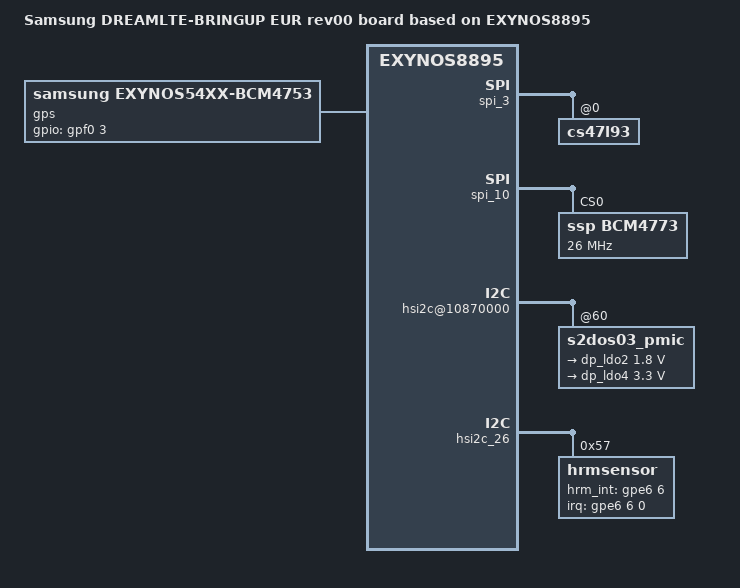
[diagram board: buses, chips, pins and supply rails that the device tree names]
/*
 * SAMSUNG EXYNOS8895 board device tree source
 *
 * Copyright (c) 2016 Samsung Electronics Co., Ltd.
 *		http://www.samsung.com
 *
 * This program is free software; you can redistribute it and/or modify
 * it under the terms of the GNU General Public License version 2 as
 * published by the Free Software Foundation.
*/

/dts-v1/;
#include "exynos8895-dreamlte_common.dtsi"
#include "battery_data_dreamlte_common.dtsi"
#include "exynos8895-dreamlte_motor.dtsi"
#include "exynos8895-dreamlte_svcled.dtsi"
#include "ccic-s2mm005_00.dtsi"
#include "exynos8895-dreamlte_mst_00.dtsi"
#include "exynos8895-dreamlte_gpio_02.dtsi"

/ {
	model = "Samsung DREAMLTE-BRINGUP EUR rev00 board based on EXYNOS8895";
	model_info-chip = <8895>;
	model_info-platform = "android";
	model_info-subtype = "samsung";
	model_info-hw_rev = <0>;
	model_info-hw_rev_end = <0>;
	compatible = "samsung, DREAMLTE-BRINGUP EUR rev00", "samsung,EXYNOS8895";

	spi_3: spi@10460000 {
		status = "okay";
		cs47l93: cs47l93@0 {
			cirrus,dmic-ref = <1 2>;
			cirrus,inmode = <
				2 0 2 0 /* IN1 */
				2 2 0 0 /* IN2 */
			>;

			cirrus,gpio-defaults = <
				0xffffffff 0xffffffff /* GPIO1 */
				0xffffffff 0xffffffff /* GPIO2 */
				0x00002001 0x00009000 /* SPKCLK1 /   GPIO3 */
				0x00002001 0x00009000 /* SPKDAT /    GPIO4 */
				0x00002000 0x00006000 /* AIF1TXDAT / GPIO5 */
				0x00002000 0x00006000 /* AIF1BCLK /  GPIO6 */
				0x00002000 0x00006000 /* AIF1RXDAT / GPIO7 */
				0x00002000 0x00006000 /* AIF1LRCLK / GPIO8 */
				0x00002001 0x00009000 /* AIF2TXDAT / GPIO9 */
				0x00002001 0x00009000 /* AIF2BCLK /  GPIO10 */
				0x00002001 0x00009000 /* AIF2RXDAT / GPIO11 */
				0x00002000 0x00006000 /* AIF2LRCLK / GPIO12 */
				0x00002000 0x00006000 /* AIF3TXDAT / GPIO13 */
				0x00002000 0x00006000 /* AIF3BCLK /  GPIO14 */
				0x00002000 0x00006000 /* AIF3RXDAT / GPIO15 */
				0x00002000 0x00006000 /* AIF3LRCLK / GPIO16 */
			>;

			cirrus,accdet {
				acc@1 {
					cirrus,hpdet-ext-res = <3300>;
				};
			};
		};
	};

	spi_10: spi@108C0000{
		#address-cells = <1>;
		#size-cells = <0>;
	
		pinctrl-names = "default";
		pinctrl-0 = <&spi1_mosi_sck_ssn &spi1_miso>;

		num-cs = <1>;
		status = "okay";
/*
		dma-mode;
		dmas = <&pdma0 21 0
			&pdma0 20 0>;
*/
		BCM4773@0 {
			compatible = "ssp,BCM4773";
			reg = <0>;
			spi-max-frequency = <26000000>;
			spi-cpol;
			spi-cpha;
			pinctrl-names = "default";
			pinctrl-0 = <&ssp_host_req &ssp_mcu_req &ssp_mcu_resp &ssp_batch_wake_irq>;
		
			gpio-controller;
			#gpio-cells = <2>;
			ssp-host-req = <&gpa3 4 0x00>;
			ssp-mcu-req = <&gpe6 1 0x00>;
			ssp-mcu-resp = <&gpi1 5 0x00>;
			ssp-batch-wake-irq = <&gpa2 5 0x00>;
			ssp-acc-position = <0>;
			ssp-mag-position = <6>;
			ssp-sns-combination = <0>;
			ssp-ap-rev = <1>;
			ssp-mag-array = /bits/ 8 <151 87 242 214 213 124 0 247 212 55 194 75 52 226 255 131 0 241 29 62 191 1 97 111 9 47 220>;
			ssp-glass-type = <0>;
			ssp-mag-type = <1>;

			controller-data {
				cs-gpio = <&gpe2 6 0>;
				samsung,spi-feedback-delay = <0>;
			};
		};
	};

	sound {
		status = "okay";
		spkpdm-gpio;

		samsung,routing = "HEADSETMIC", "MICBIAS2A",
				 "IN1BL", "HEADSETMIC",
				 "DMIC1", "MICBIAS1A",
				 "IN1AL", "DMIC1",
				 "DMIC2", "MICBIAS1B",
				 "IN2AL", "DMIC2",
				 "VTS PAD DPDM", "DMIC1",
				 "RECEIVER", "HPOUT3L",
				 "RECEIVER", "HPOUT3R",
				 "RECEIVER", "HPOUT4L",
				 "RECEIVER", "HPOUT4R",
				 "HEADPHONE", "HPOUT2L",
				 "HEADPHONE", "HPOUT2R",
				 "BLUETOOTH SPK", "ABOX UAIF3 Playback",
				 "ABOX UAIF3 Capture", "BLUETOOTH MIC",
				 "VOUTPUT", "ABOX UAIF0 Playback",
				 "ABOX UAIF1 Capture", "VINPUT1",
				 "ABOX UAIF4 Capture", "VINPUT2",
				 "SPEAKER", "HiFi Playback",
				 "VOUTPUTCALL", "ABOX UAIF2 Playback",
				 "ABOX UAIF2 Capture", "VINPUTCALL",
				 "VTS Virtual Output", "VTS Virtual Output Mux";

		mixer-paths = "mixer_paths_r00.xml";
	};

	gps {
		compatible = "samsung,exynos54xx-bcm4753";

		pinctrl-names = "hub_en";
		pinctrl-0 = <&ssp_gps_pwr_en>;

		gpios = <&gpf0 3 0x0>;
		status = "okay";
	};

	displayport: displayport@0x11090000 {
		dp,aux_sw_oe = <&gpi1 3 0>;
		dp,aux_sw_sel = <&gpi1 7 0>;
		dp,aux_vdd = "VDD_DP_3P3";
	};

	phy@10E00000 {
	    phy_revert;
	};

	hsi2c@10870000 {
		status = "okay";
		s2dos03_pmic@60 {
			regulators {
				dp_ldo2: s2dos03-ldo2 {
					regulator-name = "HRM_1.8V_AP";
					regulator-min-microvolt = <1800000>;
					regulator-max-microvolt = <1800000>;
				};
				dp_ldo4: s2dos03-ldo4 {
					regulator-name = "HRM_3.3V_AP";
					regulator-min-microvolt = <3300000>;
					regulator-max-microvolt = <3300000>;
				};
			};
		};
	};

	hsi2c_26: hsi2c@10910000 {
		status = "okay";
		hrmsensor@57 {
			compatible = "hrmsensor";
			reg = <0x57>;
			interrupt-parent = <&gpe6>;
			interrupts = <6 0 0>;
			pinctrl-names = "default", "sleep", "idle";
			pinctrl-0 = <&hrm_irq>;
			pinctrl-1 = <&hrm_irqsleep>;
			pinctrl-2 = <&hrm_irqidle>;
			hrmsensor,hrm_int-gpio = <&gpe6 6 0>;
			hrmsensor,vdd_1p8 = "HRM_1.8V_AP";
			hrmsensor,led_3p3 = "HRM_3.3V_AP";
			hrmsensor,i2c_1p8 = "VDD_NFC_1P8";
		};
	};

	speedy@15B50000{
		status = "okay";
		s2mps17mfd@00 {
			regulators {
				ldo36_reg: LDO36 {
					regulator-name = "VDD_MOTOR_3P3";
					regulator-min-microvolt = <3300000>;
					regulator-max-microvolt = <3300000>;
					regulator-boot-on;
					regulator-always-on;
					regulator-ramp-delay = <12000>;
				};
			};
		};
	};
};
